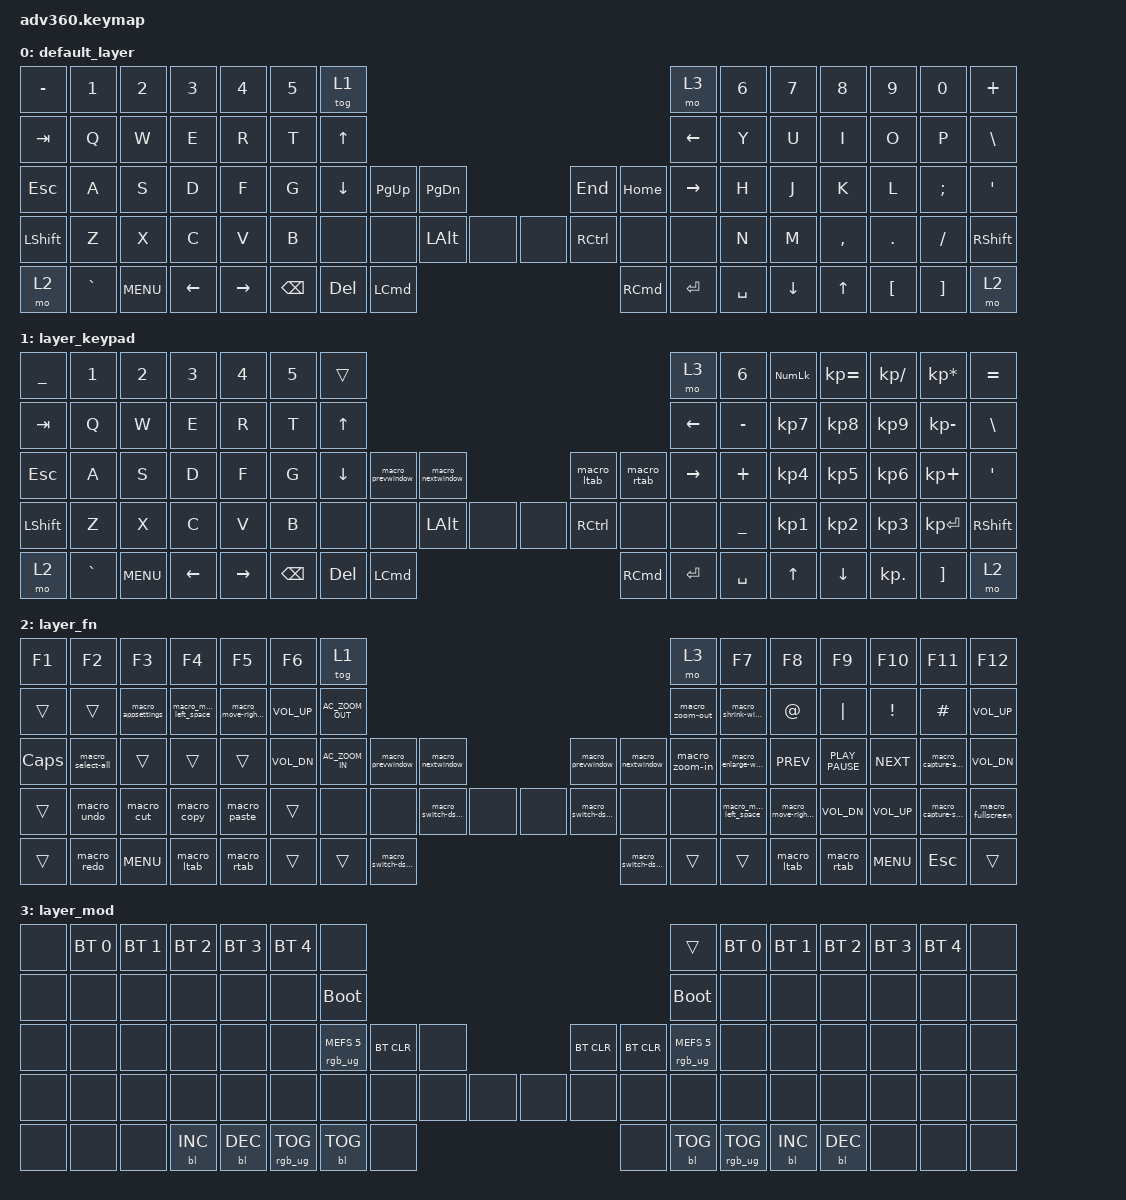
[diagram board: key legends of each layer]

#include <behaviors.dtsi>
#include <dt-bindings/zmk/keys.h>
#include <dt-bindings/zmk/bt.h>
#include <dt-bindings/zmk/rgb.h>
#include <dt-bindings/zmk/backlight.h>

/ {
  behaviors {
    #include "macros.dtsi"

    hm: homerow_mods {
        compatible = "zmk,behavior-hold-tap";
        label = "HOMEROW_MODS";
        #binding-cells = <2>;
        tapping-term-ms = <200>;
        quick_tap_ms = <175>;
        flavor = "tap-preferred";
        bindings = <&kp>, <&kp>;
    };
  };

    keymap {
        compatible = "zmk,keymap";


        default_layer {
            bindings = <
 &kp MINUS     &kp N1      &kp N2    &kp N3     &kp N4  &kp N5                    &tog 1                                                                                 &mo 3  &kp N6    &kp N7     &kp N8    &kp N9    &kp N0   &kp PLUS
   &kp TAB      &kp Q       &kp W     &kp E      &kp R   &kp T              &kp UP_ARROW                                                                              &kp LEFT   &kp Y     &kp U      &kp I     &kp O     &kp P   &kp BSLH
   &kp ESC      &kp A       &kp S     &kp D      &kp F   &kp G            &kp DOWN_ARROW  &kp PG_UP         &kp PG_DN                            &kp END   &kp HOME  &kp RIGHT   &kp H     &kp J      &kp K     &kp L  &kp SEMI    &kp SQT
 &kp LSHFT      &kp Z       &kp X     &kp C      &kp V   &kp B                     &none      &none      &kp LEFT_ALT   &none   &none  &kp RIGHT_CONTROL      &none      &none   &kp N     &kp M  &kp COMMA   &kp DOT  &kp FSLH  &kp RSHFT
     &mo 2  &kp GRAVE  &kp K_MENU  &kp LEFT  &kp RIGHT                          &kp BSPC    &kp DEL  &kp LEFT_COMMAND                  &kp RIGHT_COMMAND  &kp ENTER  &kp SPACE          &kp DOWN     &kp UP  &kp LBKT  &kp RBKT      &mo 2
            >;
        };

        layer_keypad {
            bindings = <
 &kp UNDERSCORE     &kp N1      &kp N2    &kp N3     &kp N4  &kp N5                    &trans                                                                                      &mo 3          &kp N6  &kp KP_NUM  &kp KP_EQUAL  &kp KP_DIVIDE  &kp KP_MULTIPLY  &kp EQUAL
        &kp TAB      &kp Q       &kp W     &kp E      &kp R   &kp T                    &kp UP                                                                                   &kp LEFT       &kp MINUS   &kp KP_N7     &kp KP_N8      &kp KP_N9     &kp KP_MINUS   &kp BSLH
        &kp ESC      &kp A       &kp S     &kp D      &kp F   &kp G            &kp DOWN_ARROW  &macro_prevwindow  &macro_nextwindow                  &macro_ltab  &macro_rtab  &kp RIGHT        &kp PLUS   &kp KP_N4     &kp KP_N5      &kp KP_N6      &kp KP_PLUS    &kp SQT
      &kp LSHFT      &kp Z       &kp X     &kp C      &kp V   &kp B                     &none              &none       &kp LEFT_ALT   &none   &none    &kp RCTRL        &none      &none  &kp UNDERSCORE   &kp KP_N1     &kp KP_N2      &kp KP_N3     &kp KP_ENTER  &kp RSHFT
          &mo 2  &kp GRAVE  &kp K_MENU  &kp LEFT  &kp RIGHT                          &kp BSPC            &kp DEL   &kp LEFT_COMMAND                     &kp RCMD    &kp ENTER  &kp SPACE                      &kp UP      &kp DOWN     &kp KP_DOT         &kp RBKT      &mo 2
            >;
        };

        layer_fn {
            bindings = <
       &kp F1             &kp F2              &kp F3                  &kp F4                  &kp F5        &kp F6                       &tog 1                                                                                                                &mo 3                  &kp F7                  &kp F8            &kp F9       &kp F10                &kp F11            &kp F12
       &trans             &trans  &macro_appsettings  &macro_move_left_space  &macro_move-rightspace  &kp C_VOL_UP            &kp C_AC_ZOOM_OUT                                                                                                      &macro_zoom-out    &macro_shrink-window             &kp AT_SIGN          &kp PIPE      &kp EXCL               &kp HASH    &kp C_VOLUME_UP
 &kp CAPSLOCK  &macro_select-all              &trans                  &trans                  &trans  &kp C_VOL_DN             &kp C_AC_ZOOM_IN  &macro_prevwindow      &macro_nextwindow                      &macro_prevwindow  &macro_nextwindow   &macro_zoom-in   &macro_enlarge-window              &kp K_PREV  &kp K_PLAY_PAUSE    &kp K_NEXT    &macro_capture-area       &kp C_VOL_DN
       &trans        &macro_undo          &macro_cut             &macro_copy            &macro_paste        &trans                        &none              &none  &macro_switch-dsktp-2   &none   &none  &macro_switch-dsktp-2              &none            &none  &macro_move_left_space  &macro_move-rightspace      &kp K_VOL_DN  &kp K_VOL_UP  &macro_capture-screen  &macro_fullscreen
       &trans        &macro_redo          &kp C_MENU             &macro_ltab             &macro_rtab                                     &trans             &trans  &macro_switch-dsktp-1                  &macro_switch-dsktp-1             &trans           &trans                                     &macro_ltab       &macro_rtab    &kp K_MENU                &kp ESC             &trans
            >;
        };

        layer_mod {
            bindings = <
  &none  &bt BT_SEL 0  &bt BT_SEL 1  &bt BT_SEL 2  &bt BT_SEL 3  &bt BT_SEL 4                             &none                                                                              &trans  &bt BT_SEL 0  &bt BT_SEL 1  &bt BT_SEL 2  &bt BT_SEL 3  &bt BT_SEL 4   &none
  &none         &none         &none         &none         &none         &none                       &bootloader                                                                         &bootloader         &none         &none         &none         &none         &none   &none
  &none         &none         &none         &none         &none         &none            &rgb_ug RGB_MEFS_CMD 5  &bt BT_CLR   &none                  &bt BT_CLR  &bt BT_CLR  &rgb_ug RGB_MEFS_CMD 5         &none         &none         &none         &none         &none   &none
  &none         &none         &none         &none         &none         &none                             &none       &none   &none   &none   &none       &none       &none                   &none         &none         &none         &none         &none         &none   &none
  &none         &none         &none    &bl BL_INC    &bl BL_DEC                                 &rgb_ug RGB_TOG  &bl BL_TOG   &none                       &none  &bl BL_TOG         &rgb_ug RGB_TOG                  &bl BL_INC    &bl BL_DEC         &none         &none   &none
            >;
        };

    };
};
